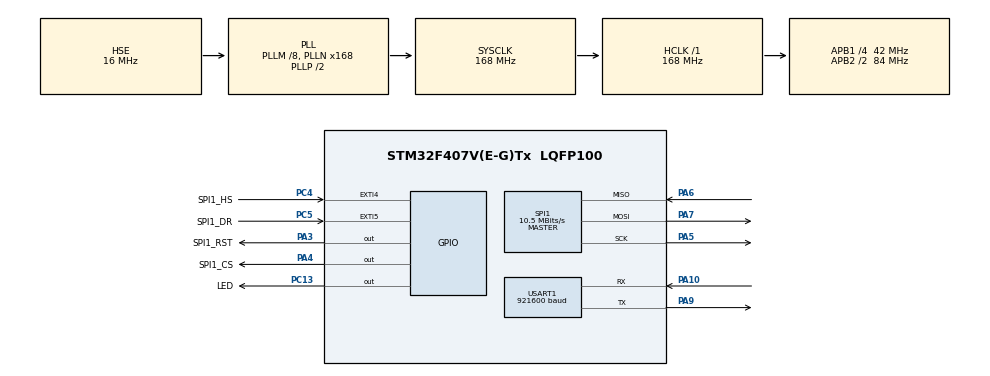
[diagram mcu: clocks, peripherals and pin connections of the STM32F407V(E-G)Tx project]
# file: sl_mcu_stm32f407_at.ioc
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Mcu.Family=STM32F4
Mcu.Name=STM32F407V(E-G)Tx
Mcu.Package=LQFP100
NVIC.EXTI4_IRQn=true\:0\:0\:false\:false\:true\:true\:true\:true
NVIC.EXTI9_5_IRQn=true\:0\:0\:false\:false\:true\:true\:true\:true
NVIC.PriorityGroup=NVIC_PRIORITYGROUP_4
PA10.Mode=Asynchronous
PA10.Signal=USART1_RX
PA13.Mode=Trace_Asynchronous_SW
PA13.Signal=SYS_JTMS-SWDIO
PA14.Mode=Trace_Asynchronous_SW
PA14.Signal=SYS_JTCK-SWCLK
PA3.GPIO_Label=SPI1_RST
PA3.GPIO_ModeDefaultOutputPP=GPIO_MODE_OUTPUT_OD
PA3.GPIO_PuPd=GPIO_NOPULL
PA3.PinState=GPIO_PIN_SET
PA3.Signal=GPIO_Output
PA4.GPIO_Label=SPI1_CS
PA4.GPIO_Speed=GPIO_SPEED_FREQ_VERY_HIGH
PA4.PinState=GPIO_PIN_SET
PA4.Signal=GPIO_Output
PA5.GPIO_Speed=GPIO_SPEED_FREQ_LOW
PA5.Mode=Full_Duplex_Master
PA5.Signal=SPI1_SCK
PA6.GPIO_Speed=GPIO_SPEED_FREQ_LOW
PA6.Mode=Full_Duplex_Master
PA6.Signal=SPI1_MISO
PA7.GPIO_Speed=GPIO_SPEED_FREQ_LOW
PA7.Mode=Full_Duplex_Master
PA7.Signal=SPI1_MOSI
PA9.Mode=Asynchronous
PA9.Signal=USART1_TX
PB3.Mode=Trace_Asynchronous_SW
PB3.Signal=SYS_JTDO-SWO
PC13-ANTI_TAMP.GPIO_Label=LED
PC13-ANTI_TAMP.GPIO_ModeDefaultOutputPP=GPIO_MODE_OUTPUT_OD
PC13-ANTI_TAMP.GPIO_PuPd=GPIO_NOPULL
PC13-ANTI_TAMP.PinState=GPIO_PIN_SET
PC13-ANTI_TAMP.Signal=GPIO_Output
PC4.GPIO_Label=SPI1_HS
PC4.GPIO_PuPd=GPIO_PULLDOWN
PC4.Signal=GPXTI4
PC5.GPIO_Label=SPI1_DR
PC5.GPIO_PuPd=GPIO_PULLDOWN
PC5.Signal=GPXTI5
PH0-OSC_IN.Mode=HSE-External-Oscillator
PH0-OSC_IN.Signal=RCC_OSC_IN
PH1-OSC_OUT.Mode=HSE-External-Oscillator
PH1-OSC_OUT.Signal=RCC_OSC_OUT
ProjectManager.HeapSize=0x200
ProjectManager.StackSize=0x400
ProjectManager.TargetToolchain=STM32CubeIDE
RCC.48MHZClocksFreq_Value=84000000
RCC.AHBFreq_Value=168000000
RCC.APB1CLKDivider=RCC_HCLK_DIV4
RCC.APB1Freq_Value=42000000
RCC.APB1TimFreq_Value=84000000
RCC.APB2CLKDivider=RCC_HCLK_DIV2
RCC.APB2Freq_Value=84000000
RCC.APB2TimFreq_Value=168000000
RCC.CortexFreq_Value=168000000
RCC.HCLKFreq_Value=168000000
RCC.HSE_VALUE=16000000
RCC.HSI_VALUE=16000000
RCC.LSE_VALUE=32768
RCC.PLLM=8
RCC.PLLN=168
RCC.PLLSourceVirtual=RCC_PLLSOURCE_HSE
RCC.SYSCLKFreq_VALUE=168000000
RCC.SYSCLKSource=RCC_SYSCLKSOURCE_PLLCLK
RCC.VCOOutputFreq_Value=336000000
SPI1.BaudRatePrescaler=SPI_BAUDRATEPRESCALER_8
SPI1.CLKPhase=SPI_PHASE_1EDGE
SPI1.CLKPolarity=SPI_POLARITY_LOW
SPI1.CalculateBaudRate=10.5 MBits/s
SPI1.Direction=SPI_DIRECTION_2LINES
SPI1.Mode=SPI_MODE_MASTER
SPI1.VirtualType=VM_MASTER
USART1.BaudRate=921600
USART1.VirtualMode=VM_ASYNC
board=custom

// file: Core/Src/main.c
/* USER CODE BEGIN Header */
/**
 ******************************************************************************
 * @file           : main.c
 * @brief          : Main program body
 ******************************************************************************
 * @attention
 *
 * Copyright (c) 2026 STM32World <lth@stm32world.com>
 * All rights reserved.
 *
 * This software is licensed under terms that can be found in the LICENSE file
 * in the root directory of this software component.
 * If no LICENSE file comes with this software, it is provided AS-IS.
 *
 ******************************************************************************
 */
/* USER CODE END Header */
#include "main.h"

/* USER CODE BEGIN Includes */
#include <stdio.h>
#include "at_spi.h"
#include "at_client.h"
#include "wifi_at.h"
#include "http_server.h"
#include "daytime.h"
#include "wifi_secrets.h"

/* USER CODE END Includes */

SPI_HandleTypeDef hspi1;

UART_HandleTypeDef huart1;

void SystemClock_Config(void);
static void MX_GPIO_Init(void);
static void MX_SPI1_Init(void);
static void MX_USART1_UART_Init(void);

/* USER CODE BEGIN 0 */

// printf goes to USART1 (PA9/PA10, 921600 baud), which the ST-Link passes
// on as its virtual COM port. newlib's _write() (syscalls.c) calls this for
// every character; "\n" becomes "\r\n" for terminal programs. Blocking: a
// long printf holds up the main loop (at 921600 baud, about 11 us per byte).
int __io_putchar(int ch) {
    if (ch == '\n') {
        HAL_UART_Transmit(&huart1, (uint8_t*) "\r", 1, HAL_MAX_DELAY);
    }
    if (HAL_UART_Transmit(&huart1, (uint8_t*) &ch, 1, HAL_MAX_DELAY) != HAL_OK) {
        return -1;
    }
    return ch;
}

/* USER CODE END 0 */

int main(void)
{

  /* MCU Configuration--------------------------------------------------------*/

  /* Reset of all peripherals, Initializes the Flash interface and the Systick. */
  HAL_Init();

  /* Configure the system clock */
  SystemClock_Config();

  /* Initialize all configured peripherals */
  MX_GPIO_Init();
  MX_SPI1_Init();
  MX_USART1_UART_Init();
  /* USER CODE BEGIN 2 */

    printf("\n\n\nStarting Wi-Fi (ESP-AT)\n");

    // Wi-Fi first (it registers the AT callbacks), then the transport, whose
    // init resets the ESP through EN. Credentials: Core/Inc/wifi_secrets.h.
    wifi_at_init(WIFI_SSID, WIFI_PASSWORD, HTTP_SERVER_PORT, &http_server_handler);
    at_spi_init(&hspi1);

  /* USER CODE END 2 */

  /* Infinite loop */
  /* USER CODE BEGIN WHILE */

    // The superloop. Nothing here blocks for long: every module keeps its own
    // state and does a little work per call. The SPI transfers themselves
    // run from interrupts (at_spi.c); the main loop parses what they bring
    // in and runs the services.
    //  - The LED (PC13) blinks at 1 Hz: the loop is alive.
    //  - A status line every 30 s on the console.
    uint32_t now, next_blink = 500, next_status = 30000;

    while (1) {

        now = uwTick;

        if (now >= next_blink) {
            HAL_GPIO_TogglePin(LED_GPIO_Port, LED_Pin);
            next_blink = now + 500;
        }

        if (now >= next_status) {
            const at_spi_stats_t *st = at_spi_get_stats();
            printf("status: up %lu s, %s ip %s, state %d, spi xfer %lu tx %lu rx %lu, errors seq %lu len %lu spi %lu ovf %lu, stale %lu\n",
                    now / 1000, wifi_at_get_hostname(), wifi_at_get_ip(), wifi_at_get_state(),
                    st->transactions, st->tx_bytes, st->rx_bytes,
                    st->seq_errors, st->len_errors, st->spi_errors, st->rx_overflows, st->stale_status);
            next_status = now + 30000;
        }

        at_spi_poll();          // safety net; the SPI transfers run from interrupts
        at_client_poll();       // AT lines and socket data from the ESP
        wifi_at_poll();         // Wi-Fi join, server, liveness
        http_server_poll();     // replies to requests that have come in
        daytime_poll();         // NIST time every 10 minutes

    /* USER CODE END WHILE */

    }
}

void SystemClock_Config(void)
{
  RCC_OscInitTypeDef RCC_OscInitStruct = {0};
  RCC_ClkInitTypeDef RCC_ClkInitStruct = {0};

  /** Configure the main internal regulator output voltage
  */
  __HAL_RCC_PWR_CLK_ENABLE();
  __HAL_PWR_VOLTAGESCALING_CONFIG(PWR_REGULATOR_VOLTAGE_SCALE1);

  /** Initializes the RCC Oscillators according to the specified parameters
  * in the RCC_OscInitTypeDef structure.
  */
  RCC_OscInitStruct.OscillatorType = RCC_OSCILLATORTYPE_HSE;
  RCC_OscInitStruct.HSEState = RCC_HSE_ON;
  RCC_OscInitStruct.PLL.PLLState = RCC_PLL_ON;
  RCC_OscInitStruct.PLL.PLLSource = RCC_PLLSOURCE_HSE;
  RCC_OscInitStruct.PLL.PLLM = 8;
  RCC_OscInitStruct.PLL.PLLN = 168;
  RCC_OscInitStruct.PLL.PLLP = RCC_PLLP_DIV2;
  RCC_OscInitStruct.PLL.PLLQ = 4;
  if (HAL_RCC_OscConfig(&RCC_OscInitStruct) != HAL_OK)
  {
    Error_Handler();
  }

  /** Initializes the CPU, AHB and APB buses clocks
  */
  RCC_ClkInitStruct.ClockType = RCC_CLOCKTYPE_HCLK|RCC_CLOCKTYPE_SYSCLK
                              |RCC_CLOCKTYPE_PCLK1|RCC_CLOCKTYPE_PCLK2;
  RCC_ClkInitStruct.SYSCLKSource = RCC_SYSCLKSOURCE_PLLCLK;
  RCC_ClkInitStruct.AHBCLKDivider = RCC_SYSCLK_DIV1;
  RCC_ClkInitStruct.APB1CLKDivider = RCC_HCLK_DIV4;
  RCC_ClkInitStruct.APB2CLKDivider = RCC_HCLK_DIV2;

  if (HAL_RCC_ClockConfig(&RCC_ClkInitStruct, FLASH_LATENCY_5) != HAL_OK)
  {
    Error_Handler();
  }
}

static void MX_SPI1_Init(void)
{

  /* SPI1 parameter configuration*/
  hspi1.Instance = SPI1;
  hspi1.Init.Mode = SPI_MODE_MASTER;
  hspi1.Init.Direction = SPI_DIRECTION_2LINES;
  hspi1.Init.DataSize = SPI_DATASIZE_8BIT;
  hspi1.Init.CLKPolarity = SPI_POLARITY_LOW;
  hspi1.Init.CLKPhase = SPI_PHASE_1EDGE;
  hspi1.Init.NSS = SPI_NSS_SOFT;
  hspi1.Init.BaudRatePrescaler = SPI_BAUDRATEPRESCALER_8;
  hspi1.Init.FirstBit = SPI_FIRSTBIT_MSB;
  hspi1.Init.TIMode = SPI_TIMODE_DISABLE;
  hspi1.Init.CRCCalculation = SPI_CRCCALCULATION_DISABLE;
  hspi1.Init.CRCPolynomial = 10;
  if (HAL_SPI_Init(&hspi1) != HAL_OK)
  {
    Error_Handler();
  }

}

static void MX_USART1_UART_Init(void)
{

  huart1.Instance = USART1;
  huart1.Init.BaudRate = 921600;
  huart1.Init.WordLength = UART_WORDLENGTH_8B;
  huart1.Init.StopBits = UART_STOPBITS_1;
  huart1.Init.Parity = UART_PARITY_NONE;
  huart1.Init.Mode = UART_MODE_TX_RX;
  huart1.Init.HwFlowCtl = UART_HWCONTROL_NONE;
  huart1.Init.OverSampling = UART_OVERSAMPLING_16;
  if (HAL_UART_Init(&huart1) != HAL_OK)
  {
    Error_Handler();
  }

}

static void MX_GPIO_Init(void)
{
  GPIO_InitTypeDef GPIO_InitStruct = {0};

  /* GPIO Ports Clock Enable */
  __HAL_RCC_GPIOC_CLK_ENABLE();
  __HAL_RCC_GPIOH_CLK_ENABLE();
  __HAL_RCC_GPIOA_CLK_ENABLE();
  __HAL_RCC_GPIOB_CLK_ENABLE();

  /*Configure GPIO pin Output Level */
  HAL_GPIO_WritePin(LED_GPIO_Port, LED_Pin, GPIO_PIN_SET);

  /*Configure GPIO pin Output Level */
  HAL_GPIO_WritePin(GPIOA, SPI1_RST_Pin|SPI1_CS_Pin, GPIO_PIN_SET);

  /*Configure GPIO pin : LED_Pin */
  GPIO_InitStruct.Pin = LED_Pin;
  GPIO_InitStruct.Mode = GPIO_MODE_OUTPUT_OD;
  GPIO_InitStruct.Pull = GPIO_NOPULL;
  GPIO_InitStruct.Speed = GPIO_SPEED_FREQ_LOW;
  HAL_GPIO_Init(LED_GPIO_Port, &GPIO_InitStruct);

  /*Configure GPIO pin : SPI1_RST_Pin */
  GPIO_InitStruct.Pin = SPI1_RST_Pin;
  GPIO_InitStruct.Mode = GPIO_MODE_OUTPUT_OD;
  GPIO_InitStruct.Pull = GPIO_NOPULL;
  GPIO_InitStruct.Speed = GPIO_SPEED_FREQ_LOW;
  HAL_GPIO_Init(SPI1_RST_GPIO_Port, &GPIO_InitStruct);

  /*Configure GPIO pin : SPI1_CS_Pin */
  GPIO_InitStruct.Pin = SPI1_CS_Pin;
  GPIO_InitStruct.Mode = GPIO_MODE_OUTPUT_PP;
  GPIO_InitStruct.Pull = GPIO_NOPULL;
  GPIO_InitStruct.Speed = GPIO_SPEED_FREQ_VERY_HIGH;
  HAL_GPIO_Init(SPI1_CS_GPIO_Port, &GPIO_InitStruct);

  /*Configure GPIO pins : SPI1_HS_Pin SPI1_DR_Pin */
  GPIO_InitStruct.Pin = SPI1_HS_Pin|SPI1_DR_Pin;
  GPIO_InitStruct.Mode = GPIO_MODE_IT_RISING;
  GPIO_InitStruct.Pull = GPIO_PULLDOWN;
  HAL_GPIO_Init(GPIOC, &GPIO_InitStruct);

  /* EXTI interrupt init*/
  HAL_NVIC_SetPriority(EXTI4_IRQn, 0, 0);
  HAL_NVIC_EnableIRQ(EXTI4_IRQn);

  HAL_NVIC_SetPriority(EXTI9_5_IRQn, 0, 0);
  HAL_NVIC_EnableIRQ(EXTI9_5_IRQn);

}

void Error_Handler(void)
{
    __disable_irq();
    while (1)
    {
    }
}
